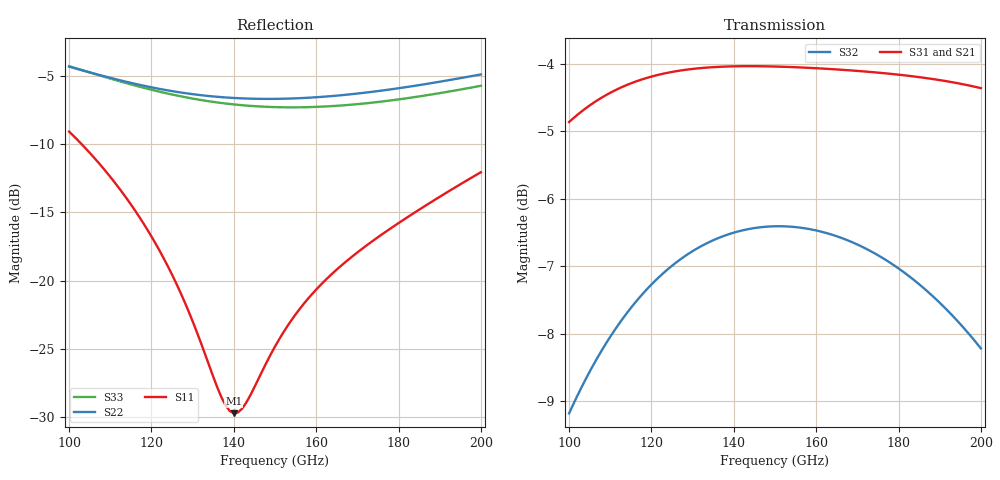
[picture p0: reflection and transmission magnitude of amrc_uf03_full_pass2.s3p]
! Created with skrf 2.1.0 (http://scikit-rf.org).
# GHz S DB R 50.0
! Port[1] = P1
! Port[2] = P2
! Port[3] = P3
!freq dBS11 angS11 dBS12 angS12 dBS13 angS13
! dBS21 angS21 dBS22 angS22 dBS23 angS23
! dBS31 angS31 dBS32 angS32 dBS33 angS33
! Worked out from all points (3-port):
!   101 points, 100 GHz to 200 GHz, reference 50 ohm
!   strongest paths, dB at 100 GHz, 125 GHz, 150 GHz, 175 GHz, 200 GHz:
!     S31: -4.9, -4.1, -4.0, -4.1, -4.4
!     S21: -4.6, -4.0, -4.0, -4.3, -4.8
!     S32: -9.2, -7.0, -6.4, -6.8, -8.2
!   lowest |S11| = -29.7 dB at 140 GHz (marker M1), VSWR 1.07, Z = 46.9 + j0.694 ohm
!   |S11| at or under -10 dB: 103 GHz to end of sweep
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100  -9.10 129.4  -4.58 -13.0  -4.86 163.1
     -4.58 -13.0  -4.34 60.2  -9.18 89.8
     -4.86 163.1  -9.18 89.8  -4.31 50.1
120  -16.77 110.4  -4.02 -43.5  -4.19 130.8
     -4.02 -43.5  -5.86 42.9  -7.27 59.6
     -4.19 130.8  -7.27 59.6  -6.03 29.9
128  -21.53 112.0  -3.96 -54.6  -4.09 119.0
     -3.96 -54.6  -6.27 37.1  -6.85 48.4
     -4.09 119.0  -6.85 48.4  -6.57 23.2
137  -28.54 142.2  -3.96 -66.4  -4.04 106.4
     -3.96 -66.4  -6.57 30.7  -6.56 36.3
     -4.04 106.4  -6.56 36.3  -7.00 16.1
140  -29.71 166.9  -3.97 -70.3  -4.04 102.3
     -3.97 -70.3  -6.64 28.6  -6.50 32.4
     -4.04 102.3  -6.50 32.4  -7.11 13.8
143  -28.94 -169.0  -3.99 -74.0  -4.03 98.3
     -3.99 -74.0  -6.68 26.4  -6.46 28.6
     -4.03 98.3  -6.46 28.6  -7.19 11.5
150  -24.83 -141.7  -4.03 -82.7  -4.04 89.1
     -4.03 -82.7  -6.70 21.3  -6.41 19.8
     -4.04 89.1  -6.41 19.8  -7.30 6.2
167  -18.67 -130.6  -4.19 -103.1  -4.09 67.5
     -4.19 -103.1  -6.41 8.1  -6.60 -0.7
     -4.09 67.5  -6.60 -0.7  -7.16 -7.0
183  -15.20 -131.0  -4.41 -122.1  -4.18 47.5
     -4.41 -122.1  -5.79 -5.8  -7.17 -19.6
     -4.18 47.5  -7.17 -19.6  -6.61 -20.4
200  -12.07 -136.9  -4.79 -142.8  -4.36 25.9
     -4.79 -142.8  -4.91 -22.1  -8.22 -39.6
     -4.36 25.9  -8.22 -39.6  -5.74 -36.0
